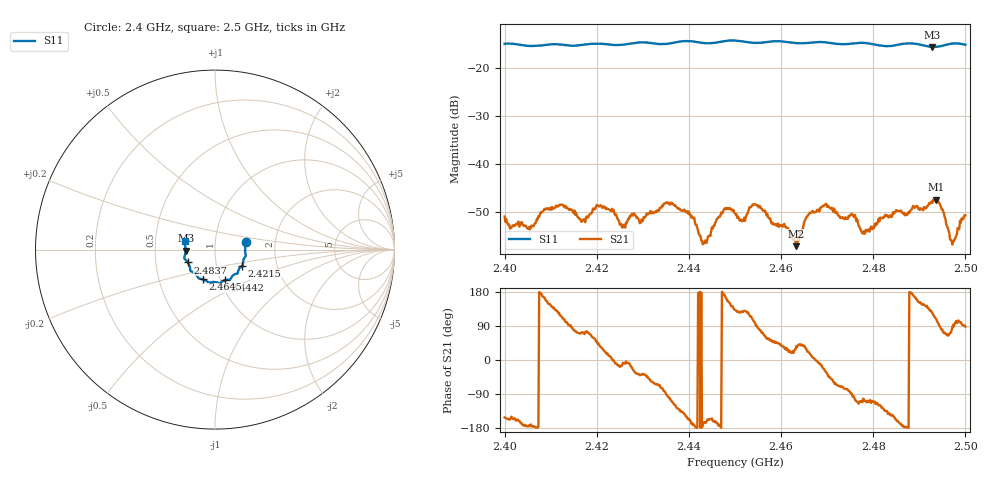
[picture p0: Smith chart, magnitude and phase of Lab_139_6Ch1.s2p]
# Hz S RI R 50
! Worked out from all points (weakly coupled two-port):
!   601 points, 2.4 GHz to 2.5 GHz, reference 50 ohm
!   highest |S21| = -47.39 dB at 2.4937 GHz (marker M1); lowest = -57.1 dB at 2.4633 GHz (marker M2)
!   lowest |S11| = -15.7 dB at 2.4928 GHz (marker M3), VSWR 1.39, Z = 36 - j0.381 ohm
!   |S11| at or under -10 dB: start of sweep to end of sweep
!   S12 and S22 are empty: the file has one direction only
!   S11 on the Smith chart (normalised r, x): 2.4 GHz: 1.41, +0.12; 2.4215 GHz: 1.33, -0.25; 2.4442 GHz: 1.05, -0.37; 2.4645 GHz: 0.83, -0.29; 2.4837 GHz: 0.73, -0.11; 2.5 GHz: 0.71, +0.07
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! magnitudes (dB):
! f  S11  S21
! 2.4 GHz  -15.1  -50.9
! 2.4053 GHz  -15.5  -53.1
! 2.4123 GHz  -15.2  -48.4
! 2.4167 GHz  -15.3  -52.0
! 2.4215 GHz  -15.1  -48.8
! 2.4257 GHz  -15.3  -53.1
! 2.4333 GHz  -15.1  -49.6
! 2.4395 GHz  -14.5  -49.9
! 2.4442 GHz  -15.0  -55.0
! 2.4475 GHz  -14.5  -49.6
! 2.45 GHz  -14.4  -50.3
! 2.4548 GHz  -14.9  -48.5
! 2.4633 GHz  -14.9  -57.1
! 2.4645 GHz  -15.0  -53.9
! 2.4667 GHz  -14.8  -50.1
! 2.4778 GHz  -14.9  -54.4
! 2.4833 GHz  -15.6  -51.1
! 2.4837 GHz  -15.5  -50.9
! 2.4928 GHz  -15.7  -48.1
! 2.4937 GHz  -15.7  -47.4
! 2.4972 GHz  -15.0  -56.7
! 2.5 GHz  -15.3  -50.6
